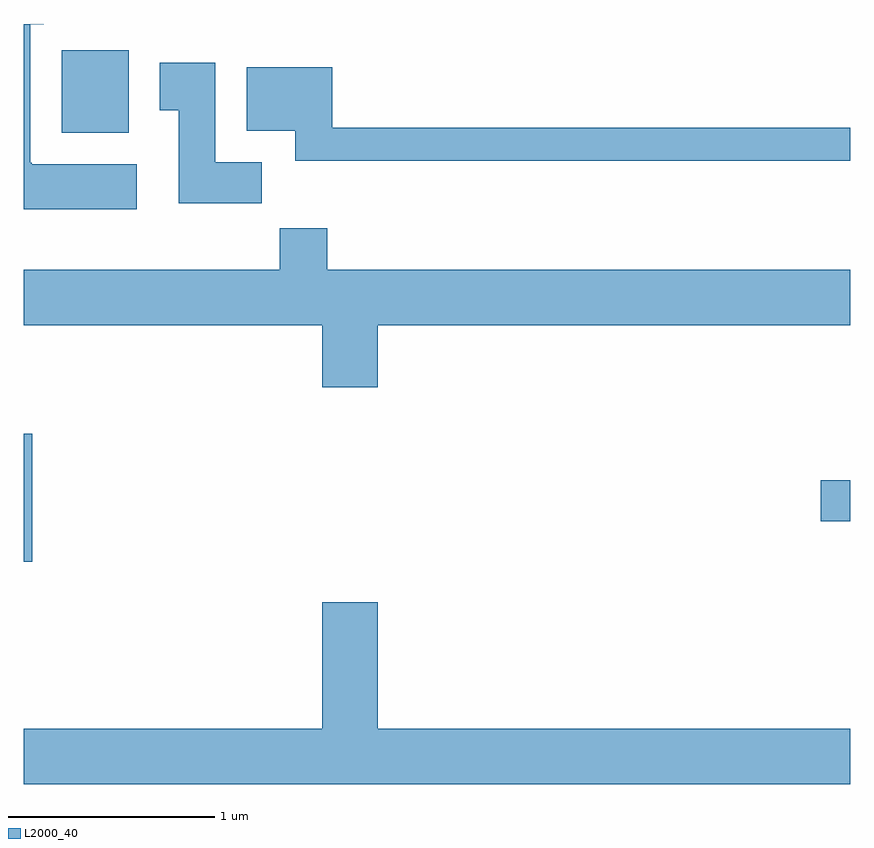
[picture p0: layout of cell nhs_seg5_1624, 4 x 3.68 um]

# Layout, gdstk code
import gdstk
lib = gdstk.Library(unit=1e-6, precision=1e-09)
def R(c, l, rs):  # rectangles x0, y0, x1, y1
    for r in rs: c.add(gdstk.rectangle(r[:2], r[2:], *l))
def P(c, l, *ps):  # polygons
    for p in ps: c.add(gdstk.Polygon(p, *l))
L2000_40 = (2000, 40)

nhs_seg5_1624 = lib.new_cell('nhs_seg5_1624')
R(nhs_seg5_1624, L2000_40, [(233.611,1413.471,233.654,1414.089), (237.466,1413.666,237.611,1413.864), (233.796,1415.546,234.119,1415.944)])
P(nhs_seg5_1624, L2000_40, [(234.159,1415.394),(233.65,1415.394),(233.65,1415.4),(233.644,1415.4),(233.644,1416.071),(233.708,1416.071),(233.708,1416.072),(233.611,1416.072),(233.611,1415.176),(234.159,1415.176)],
  [(234.764,1415.404),(234.539,1415.404),(234.539,1415.884),(234.271,1415.884),(234.271,1415.656),(234.361,1415.656),(234.361,1415.206),(234.764,1415.206)],
  [(237.611,1415.569),(235.104,1415.569),(235.104,1415.864),(234.691,1415.864),(234.691,1415.556),(234.926,1415.556),(234.926,1415.411),(237.611,1415.411)],
  [(235.324,1414.616),(237.611,1414.616),(237.611,1414.884),(235.079,1414.884),(235.079,1415.084),(234.851,1415.084),(234.851,1414.884),(233.611,1414.884),(233.611,1414.616),(235.056,1414.616),(235.056,1414.316),(235.324,1414.316)],
  [(237.611,1412.664),(235.324,1412.664),(235.324,1413.274),(235.056,1413.274),(235.056,1412.664),(233.611,1412.664),(233.611,1412.396),(237.611,1412.396)])

lib.write_gds('nhs_seg5_1624.gds')
